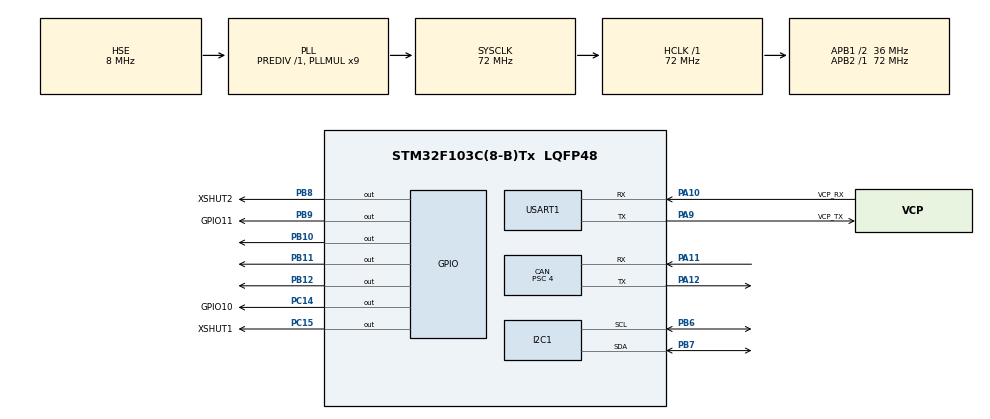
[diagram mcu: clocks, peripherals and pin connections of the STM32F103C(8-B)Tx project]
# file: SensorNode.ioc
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CAN.BS1=CAN_BS1_13TQ
CAN.BS2=CAN_BS2_4TQ
CAN.CalculateBaudRate=500000
CAN.CalculateTimeBit=2000
CAN.CalculateTimeQuantum=111.11111111111111
CAN.Prescaler=4
CAN.SJW=CAN_SJW_2TQ
I2C1.I2C_Mode=I2C_Fast
Mcu.Family=STM32F1
Mcu.Name=STM32F103C(8-B)Tx
Mcu.Package=LQFP48
NVIC.PriorityGroup=NVIC_PRIORITYGROUP_4
NVIC.TIM3_IRQn=true\:0\:0\:false\:false\:true\:true\:true\:true
NVIC.USB_LP_CAN1_RX0_IRQn=true\:0\:0\:false\:false\:true\:true\:true\:true
PA10.GPIO_Label=VCP_RX
PA10.Mode=Asynchronous
PA10.Signal=USART1_RX
PA11.Mode=CAN_Activate
PA11.Signal=CAN_RX
PA12.Mode=CAN_Activate
PA12.Signal=CAN_TX
PA13.Mode=Serial_Wire
PA13.Signal=SYS_JTMS-SWDIO
PA14.Mode=Serial_Wire
PA14.Signal=SYS_JTCK-SWCLK
PA9.GPIO_Label=VCP_TX
PA9.Mode=Asynchronous
PA9.Signal=USART1_TX
PB10.PinState=GPIO_PIN_SET
PB10.Signal=GPIO_Output
PB11.PinState=GPIO_PIN_SET
PB11.Signal=GPIO_Output
PB12.PinState=GPIO_PIN_SET
PB12.Signal=GPIO_Output
PB6.GPIO_Speed=GPIO_SPEED_FREQ_LOW
PB6.Mode=I2C
PB6.Signal=I2C1_SCL
PB7.GPIO_Speed=GPIO_SPEED_FREQ_LOW
PB7.Mode=I2C
PB7.Signal=I2C1_SDA
PB8.GPIO_Label=XSHUT2
PB8.PinState=GPIO_PIN_SET
PB8.Signal=GPIO_Output
PB9.GPIO_Label=GPIO11
PB9.PinState=GPIO_PIN_SET
PB9.Signal=GPIO_Output
PC14-OSC32_IN.GPIO_Label=GPIO10
PC14-OSC32_IN.PinState=GPIO_PIN_SET
PC14-OSC32_IN.Signal=GPIO_Output
PC15-OSC32_OUT.GPIO_Label=XSHUT1
PC15-OSC32_OUT.PinState=GPIO_PIN_SET
PC15-OSC32_OUT.Signal=GPIO_Output
PD0-OSC_IN.Mode=HSE-External-Oscillator
PD0-OSC_IN.Signal=RCC_OSC_IN
PD1-OSC_OUT.Mode=HSE-External-Oscillator
PD1-OSC_OUT.Signal=RCC_OSC_OUT
ProjectManager.HeapSize=0x200
ProjectManager.StackSize=0x400
ProjectManager.TargetToolchain=STM32CubeIDE
RCC.AHBFreq_Value=72000000
RCC.APB1CLKDivider=RCC_HCLK_DIV2
RCC.APB1Freq_Value=36000000
RCC.APB1TimFreq_Value=72000000
RCC.APB2Freq_Value=72000000
RCC.APB2TimFreq_Value=72000000
RCC.HCLKFreq_Value=72000000
RCC.PLLMUL=RCC_PLL_MUL9
RCC.PLLSourceVirtual=RCC_PLLSOURCE_HSE
RCC.SYSCLKFreq_VALUE=72000000
RCC.SYSCLKSource=RCC_SYSCLKSOURCE_PLLCLK
RCC.USBFreq_Value=72000000
TIM3.Period=999
TIM3.Prescaler=7199
USART1.VirtualMode=VM_ASYNC
VP_TIM3_VS_ClockSourceINT.Mode=Internal
board=custom

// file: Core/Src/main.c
/* USER CODE BEGIN Header */
/**
  ******************************************************************************
  * @file           : main.c
  * @brief          : Main program body
  ******************************************************************************
  * @attention
  *
  * Copyright (c) 2024 STMicroelectronics.
  * All rights reserved.
  *
  * This software is licensed under terms that can be found in the LICENSE file
  * in the root directory of this software component.
  * If no LICENSE file comes with this software, it is provided AS-IS.
  *
  ******************************************************************************
  */
/* USER CODE END Header */
#include "main.h"
#include "can.h"
#include "i2c.h"
#include "tim.h"
#include "usart.h"
#include "gpio.h"

/* USER CODE BEGIN Includes */
#include "stdio.h"
#include "VL53L1_Handler.h"
#include "CAN_Handler.h"
/* USER CODE END Includes */

/* USER CODE BEGIN PD */
VL53L1X sensor1, sensor2;
char lcd[100];
uint8_t LEFT[] 			 = { 1, 0, 0, 0, 0, 0, 0, 0 };
uint8_t RIGHT[] 		 = { 2, 0, 0, 0, 0, 0, 0, 0 };
uint8_t FORWARD[] 		 = { 3, 0, 0, 0, 0, 0, 0, 0 };
uint8_t BACKWARD_LEFT[]	 = { 4, 1, 0, 0, 0, 0, 0, 0 };
uint8_t BACKWARD_RIGHT[] = { 4, 2, 0, 0, 0, 0, 0, 0 };
uint8_t FORWARD_LEFT[]   = { 3, 1, 0, 0, 0, 0, 0, 0 };
uint8_t FORWARD_RIGHT[]  = { 3, 2, 0, 0, 0, 0, 0, 0 };

uint8_t returnSignal = 0;

/* USER CODE END PD */

void SystemClock_Config(void);

/* USER CODE BEGIN 0 */
uint8_t state = 0, prevstate = 0, forceChange = 0;

void HAL_CAN_RxFifo0MsgPendingCallback(CAN_HandleTypeDef* hcan)
{
	HAL_CAN_GetRxMessage(hcan, CAN_RX_FIFO0, &RxHeader, RxData);
	returnSignal = RxData[0];
}

uint8_t Get_State(int d1, int d2, uint8_t *forceChange, uint8_t state);
uint8_t Get_CounterState(uint8_t state);

void SentDatatoAct()
{
	switch (state) {
			case 1:
				forceChange = 0;
				prevstate = state;
				while (returnSignal != 1) {
					CAN_Transmit(&hcan, &TxHeader, LEFT);
				}
				break;
			case 2:
				forceChange = 0;
				prevstate = state;
				while (returnSignal != 2) {
					CAN_Transmit(&hcan, &TxHeader, RIGHT);
				}
				break;
			case 3:
				forceChange = 0;
				CAN_Transmit(&hcan, &TxHeader, FORWARD);
				break;
			case 4:
				CAN_Transmit(&hcan, &TxHeader, BACKWARD_LEFT);
				forceChange = 4;
				break;
			case 5:
				CAN_Transmit(&hcan, &TxHeader, BACKWARD_RIGHT);
				forceChange = 5;
				break;
			case 8:
				sprintf(lcd, "\n\rSensor 1\n\r  D1: %dmm\n\n\rSensor 2\n\r  D2: %dmm", sensor1.distance, sensor2.distance);
				Print(lcd, 200);
				break;
			}
}
/* USER CODE END 0 */

int main(void)
{

	/* MCU Configuration--------------------------------------------------------*/

	/* Reset of all peripherals, Initializes the Flash interface and the Systick. */
	HAL_Init();

	/* Configure the system clock */
	SystemClock_Config();

	/* Initialize all configured peripherals */
	MX_GPIO_Init();
	MX_I2C1_Init();
	MX_USART1_UART_Init();
	MX_CAN_Init();
	MX_TIM3_Init();
	/* USER CODE BEGIN 2 */
	TOF_InitStruct(&sensor1, &hi2c1, 0x22, XSHUT1_GPIO_Port, XSHUT1_Pin);
	TOF_InitStruct(&sensor2, &hi2c1, 0x26, XSHUT2_GPIO_Port, XSHUT2_Pin);
	int status = VL53L1_BootDualSensors(&sensor1, &sensor2);
	if (VL53L1_BootDualSensors(&sensor1, &sensor2) != 0) {
		VL53L1_Error_Hanlder(status);
	}
	CAN_FilterInit_SingleFF0(&hcan, &canfilterconfig, ACTUATOR_ADDR);
	CAN_ComInit_Std(&TxHeader, &hcan, SENSOR_ADDR, 2);
	//HAL_TIM_Base_Start_IT(&htim3);

  /* USER CODE END 2 */

  /* Infinite loop */
  /* USER CODE BEGIN WHILE */
	while (1) {
		if (forceChange != 0) {
			if (forceChange == 5) {
				state = 1;
			} else {
				state = 2;
			}
			forceChange = 0;
		} else {
			VL53L1_GetDistance(&sensor1);
			VL53L1_GetDistance(&sensor2);
			if (sensor2.distance >= 55) {
				sensor2.distance += 50;
			}

			state = Get_State(sensor1.distance, sensor2.distance, 0, prevstate);
		}
		SentDatatoAct();
    /* USER CODE END WHILE */

	}
}

void SystemClock_Config(void)
{
  RCC_OscInitTypeDef RCC_OscInitStruct = {0};
  RCC_ClkInitTypeDef RCC_ClkInitStruct = {0};

  /** Initializes the RCC Oscillators according to the specified parameters
  * in the RCC_OscInitTypeDef structure.
  */
  RCC_OscInitStruct.OscillatorType = RCC_OSCILLATORTYPE_HSE;
  RCC_OscInitStruct.HSEState = RCC_HSE_ON;
  RCC_OscInitStruct.HSEPredivValue = RCC_HSE_PREDIV_DIV1;
  RCC_OscInitStruct.HSIState = RCC_HSI_ON;
  RCC_OscInitStruct.PLL.PLLState = RCC_PLL_ON;
  RCC_OscInitStruct.PLL.PLLSource = RCC_PLLSOURCE_HSE;
  RCC_OscInitStruct.PLL.PLLMUL = RCC_PLL_MUL9;
  if (HAL_RCC_OscConfig(&RCC_OscInitStruct) != HAL_OK)
  {
    Error_Handler();
  }

  /** Initializes the CPU, AHB and APB buses clocks
  */
  RCC_ClkInitStruct.ClockType = RCC_CLOCKTYPE_HCLK|RCC_CLOCKTYPE_SYSCLK
                              |RCC_CLOCKTYPE_PCLK1|RCC_CLOCKTYPE_PCLK2;
  RCC_ClkInitStruct.SYSCLKSource = RCC_SYSCLKSOURCE_PLLCLK;
  RCC_ClkInitStruct.AHBCLKDivider = RCC_SYSCLK_DIV1;
  RCC_ClkInitStruct.APB1CLKDivider = RCC_HCLK_DIV2;
  RCC_ClkInitStruct.APB2CLKDivider = RCC_HCLK_DIV1;

  if (HAL_RCC_ClockConfig(&RCC_ClkInitStruct, FLASH_LATENCY_2) != HAL_OK)
  {
    Error_Handler();
  }
}

/* USER CODE BEGIN 4 */
uint8_t Get_State(int distance1, int distance2, uint8_t *forceChange, uint8_t state)
{
	if (*forceChange == 0) {
		if (distance2 < distance1) {
			if (distance2 <= 100)
				return 5;
			else if (distance2 <= 900)
				return 1;
		}
		else if (distance1 < distance2) {
			if (distance1 <= 100)
				return 5;
			else if (distance1 <= 900)
				return 2;
		}

	}
	else if (*forceChange == 1) {
		*forceChange = 0;
		return Get_CounterState(state);
	}
	return 3;
}

uint8_t Get_CounterState(uint8_t state)
{
	if (state == 2) {
		return 1;
	} else if (state == 1) {
		return 2;
	} else {
		return 1;
	}
}
/* USER CODE END 4 */

void Error_Handler(void)
{
  __disable_irq();
  while (1)
  {
  }
}
